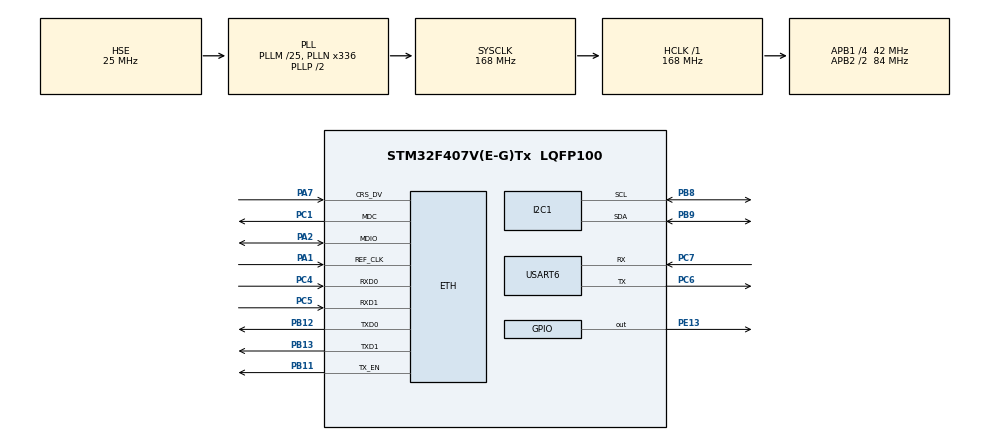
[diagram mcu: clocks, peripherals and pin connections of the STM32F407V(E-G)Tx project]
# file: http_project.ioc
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ADC1.Channel-0\#ChannelRegularConversion=ADC_CHANNEL_VREFINT
ADC1.Channel-1\#ChannelRegularConversion=ADC_CHANNEL_TEMPSENSOR
ADC1.NbrOfConversion=2
ADC1.NbrOfConversionFlag=1
ADC1.Rank-0\#ChannelRegularConversion=1
ADC1.Rank-1\#ChannelRegularConversion=2
ADC1.SamplingTime-0\#ChannelRegularConversion=ADC_SAMPLETIME_480CYCLES
ADC1.SamplingTime-1\#ChannelRegularConversion=ADC_SAMPLETIME_480CYCLES
ADC1.master=1
Dma.ADC1.0.Direction=DMA_PERIPH_TO_MEMORY
Dma.ADC1.0.FIFOMode=DMA_FIFOMODE_DISABLE
Dma.ADC1.0.Instance=DMA2_Stream0
Dma.ADC1.0.MemDataAlignment=DMA_MDATAALIGN_WORD
Dma.ADC1.0.MemInc=DMA_MINC_ENABLE
Dma.ADC1.0.Mode=DMA_NORMAL
Dma.ADC1.0.PeriphDataAlignment=DMA_PDATAALIGN_WORD
Dma.ADC1.0.PeriphInc=DMA_PINC_DISABLE
Dma.ADC1.0.Priority=DMA_PRIORITY_LOW
Dma.Request0=ADC1
ETH.MediaInterface=HAL_ETH_RMII_MODE
ETH.RxMode=ETH_RXINTERRUPT_MODE
IWDG.Prescaler=IWDG_PRESCALER_64
IWDG.Reload=624
Mcu.Family=STM32F4
Mcu.Name=STM32F407V(E-G)Tx
Mcu.Package=LQFP100
NVIC.ADC_IRQn=true\:0\:0\:false\:false\:true\:false\:true\:true\:true
NVIC.DMA2_Stream0_IRQn=true\:0\:0\:false\:false\:true\:true\:false\:true\:true
NVIC.ETH_IRQn=true\:0\:0\:false\:false\:true\:false\:true\:true\:true
NVIC.ETH_WKUP_IRQn=true\:0\:0\:false\:false\:true\:false\:true\:true\:true
NVIC.PriorityGroup=NVIC_PRIORITYGROUP_4
NVIC.TIM6_DAC_IRQn=true\:15\:0\:false\:false\:true\:false\:false\:true\:true
NVIC.TimeBase=TIM6_DAC_IRQn
NVIC.TimeBaseIP=TIM6
NVIC.USART6_IRQn=true\:0\:0\:false\:false\:true\:false\:true\:true\:true
PA1.Mode=RMII
PA1.Signal=ETH_REF_CLK
PA13.Mode=Serial_Wire
PA13.Signal=SYS_JTMS-SWDIO
PA14.Mode=Serial_Wire
PA14.Signal=SYS_JTCK-SWCLK
PA2.Mode=RMII
PA2.Signal=ETH_MDIO
PA7.Mode=RMII
PA7.Signal=ETH_CRS_DV
PB11.Mode=RMII
PB11.Signal=ETH_TX_EN
PB12.Mode=RMII
PB12.Signal=ETH_TXD0
PB13.Mode=RMII
PB13.Signal=ETH_TXD1
PB8.Mode=I2C
PB8.Signal=I2C1_SCL
PB9.Mode=I2C
PB9.Signal=I2C1_SDA
PC1.Mode=RMII
PC1.Signal=ETH_MDC
PC14-OSC32_IN.Mode=LSE-External-Oscillator
PC14-OSC32_IN.Signal=RCC_OSC32_IN
PC15-OSC32_OUT.Mode=LSE-External-Oscillator
PC15-OSC32_OUT.Signal=RCC_OSC32_OUT
PC4.Mode=RMII
PC4.Signal=ETH_RXD0
PC5.Mode=RMII
PC5.Signal=ETH_RXD1
PC6.Mode=Asynchronous
PC6.Signal=USART6_TX
PC7.Mode=Asynchronous
PC7.Signal=USART6_RX
PE13.Signal=GPIO_Output
PH0-OSC_IN.Mode=HSE-External-Oscillator
PH0-OSC_IN.Signal=RCC_OSC_IN
PH1-OSC_OUT.Mode=HSE-External-Oscillator
PH1-OSC_OUT.Signal=RCC_OSC_OUT
ProjectManager.HeapSize=0x200
ProjectManager.StackSize=0x400
ProjectManager.TargetToolchain=STM32CubeIDE
RCC.48MHZClocksFreq_Value=84000000
RCC.AHBFreq_Value=168000000
RCC.APB1CLKDivider=RCC_HCLK_DIV4
RCC.APB1Freq_Value=42000000
RCC.APB1TimFreq_Value=84000000
RCC.APB2CLKDivider=RCC_HCLK_DIV2
RCC.APB2Freq_Value=84000000
RCC.APB2TimFreq_Value=168000000
RCC.CortexFreq_Value=168000000
RCC.HCLKFreq_Value=168000000
RCC.HSE_VALUE=25000000
RCC.HSI_VALUE=16000000
RCC.PLLM=25
RCC.PLLN=336
RCC.PLLSourceVirtual=RCC_PLLSOURCE_HSE
RCC.SYSCLKFreq_VALUE=168000000
RCC.SYSCLKSource=RCC_SYSCLKSOURCE_PLLCLK
RCC.VCOOutputFreq_Value=336000000
STMicroelectronics.X-CUBE-AZRTOS-F4.1.1.0.InterfacesCcNetworkJjCustomOoInterface=true
STMicroelectronics.X-CUBE-AZRTOS-F4.1.1.0.InterfacesCcNetworkJjEthernetOoInterface=true
STMicroelectronics.X-CUBE-AZRTOS-F4.1.1.0.InterfacesCcNetworkJjEthernetOoPhyOoInterface=CustomIiPhyIiInterface
STMicroelectronics.X-CUBE-AZRTOS-F4.1.1.0.NetXDuoCcNetworkJjNetXDuoJjNXOoCore=true
STMicroelectronics.X-CUBE-AZRTOS-F4.1.1.0.ThreadXCcRTOSJjThreadXJjCore=true
STMicroelectronics.X-CUBE-AZRTOS-F4.1.1.0_IsAnAzureRtosMw=true
USART6.VirtualMode=VM_ASYNC
VP_ADC1_TempSens_Input.Mode=IN-TempSens
VP_ADC1_Vref_Input.Mode=IN-Vrefint
VP_IWDG_VS_IWDG.Mode=IWDG_Activate
VP_STMicroelectronics.X-CUBE-AZRTOS-F4_VS_NetworkJjInterfaces_2.1.0_1.1.0.Mode=NetworkJjInterfaces
VP_STMicroelectronics.X-CUBE-AZRTOS-F4_VS_NetworkJjNetXDuo_6.1.10_1.1.0.Mode=NetworkJjNetXDuo
VP_STMicroelectronics.X-CUBE-AZRTOS-F4_VS_RTOSJjThreadX_6.1.10_1.1.0.Mode=RTOSJjThreadX
VP_SYS_VS_tim6.Mode=TIM6
board=custom

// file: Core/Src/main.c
/* USER CODE BEGIN Header */
/**
 ******************************************************************************
 * @file           : main.c
 * @brief          : Main program body
 ******************************************************************************
 * @attention
 *
 * Copyright (c) 2025 STMicroelectronics.
 * All rights reserved.
 *
 * This software is licensed under terms that can be found in the LICENSE file
 * in the root directory of this software component.
 * If no LICENSE file comes with this software, it is provided AS-IS.
 *
 ******************************************************************************
 */
/* USER CODE END Header */
#include "main.h"

/* USER CODE BEGIN PD */
#define VREFINT_CAL 1.21f
#define ADC_RESOLUTION 4095.0f
#define AVG_SLOPE 0.0025f
#define V25 0.76f
/* USER CODE END PD */

ETH_TxPacketConfig TxConfig;
ETH_DMADescTypeDef DMARxDscrTab[ETH_RX_DESC_CNT]; /* Ethernet Rx DMA Descriptors */
ETH_DMADescTypeDef DMATxDscrTab[ETH_TX_DESC_CNT]; /* Ethernet Tx DMA Descriptors */

ADC_HandleTypeDef hadc1;
DMA_HandleTypeDef hdma_adc1;

ETH_HandleTypeDef heth;

I2C_HandleTypeDef hi2c1;

IWDG_HandleTypeDef hiwdg;

UART_HandleTypeDef huart6;

/* USER CODE BEGIN PV */
uint32_t adc_data[2];
volatile float mcu_temperature;
volatile float vdd_voltage;
uint8_t adc_flag = 0;
ULONG IP_ADDR;
ULONG IP_MASK;
/* USER CODE END PV */

void SystemClock_Config(void);
static void MX_GPIO_Init(void);
static void MX_DMA_Init(void);
static void MX_ETH_Init(void);
static void MX_USART6_UART_Init(void);
static void MX_ADC1_Init(void);
static void MX_I2C1_Init(void);
static void MX_IWDG_Init(void);

/* USER CODE BEGIN 0 */
void HAL_ADC_ConvCpltCallback(ADC_HandleTypeDef *hadc) {
	if (hadc->Instance == ADC1) {
		uint8_t tx_buffer[64];
		HAL_UART_Transmit(&huart6, tx_buffer,
				sprintf((char*) tx_buffer,
						"Beginning measurement voltage and temperature\n"),
				HAL_MAX_DELAY);
		uint32_t raw_vref = adc_data[0];
		uint32_t raw_temp = adc_data[1];
		// Вычисление VDD на основе VREFINT
		vdd_voltage = (VREFINT_CAL * ADC_RESOLUTION) / (float) raw_vref;
		// Напряжение на температурном датчике
		float v_sense = (raw_temp * vdd_voltage) / ADC_RESOLUTION;
		// Перевод в температуру (по формуле из даташита)
		mcu_temperature = ((v_sense - V25) / AVG_SLOPE) + 25.0f;
		uint8_t tx_buff[64];
		HAL_UART_Transmit(&huart6, (const uint8_t*) tx_buff,
				sprintf((char*) tx_buff,
						"VDD voltage and temperature measured\n"),
				HAL_MAX_DELAY);
		adc_flag = 1;
	}
}
/* USER CODE END 0 */

int main(void) {

	/* MCU Configuration--------------------------------------------------------*/

	/* Reset of all peripherals, Initializes the Flash interface and the Systick. */
	HAL_Init();

	/* Configure the system clock */
	SystemClock_Config();

	/* Initialize all configured peripherals */
	MX_GPIO_Init();
	MX_DMA_Init();
	MX_ETH_Init();
	MX_USART6_UART_Init();
	MX_ADC1_Init();
	MX_I2C1_Init();
	MX_IWDG_Init();
	/* USER CODE BEGIN 2 */
	uint8_t tx_buffer[64];
	HAL_UART_Transmit(&huart6, tx_buffer,
			sprintf((char*) tx_buffer, "Getting started\n"), HAL_MAX_DELAY);
	ip_and_mask();
	HAL_ADC_Start_DMA(&hadc1, adc_data, 2);
	/* USER CODE END 2 */

	MX_ThreadX_Init();

	/* We should never get here as control is now taken by the scheduler */

	/* Infinite loop */
	while (1) {

	}
}

void SystemClock_Config(void) {
	RCC_OscInitTypeDef RCC_OscInitStruct = { 0 };
	RCC_ClkInitTypeDef RCC_ClkInitStruct = { 0 };

	/** Configure the main internal regulator output voltage
	 */
	__HAL_RCC_PWR_CLK_ENABLE();
	__HAL_PWR_VOLTAGESCALING_CONFIG(PWR_REGULATOR_VOLTAGE_SCALE1);

	/** Initializes the RCC Oscillators according to the specified parameters
	 * in the RCC_OscInitTypeDef structure.
	 */
	RCC_OscInitStruct.OscillatorType = RCC_OSCILLATORTYPE_LSI
			| RCC_OSCILLATORTYPE_HSE;
	RCC_OscInitStruct.HSEState = RCC_HSE_ON;
	RCC_OscInitStruct.LSIState = RCC_LSI_ON;
	RCC_OscInitStruct.PLL.PLLState = RCC_PLL_ON;
	RCC_OscInitStruct.PLL.PLLSource = RCC_PLLSOURCE_HSE;
	RCC_OscInitStruct.PLL.PLLM = 25;
	RCC_OscInitStruct.PLL.PLLN = 336;
	RCC_OscInitStruct.PLL.PLLP = RCC_PLLP_DIV2;
	RCC_OscInitStruct.PLL.PLLQ = 4;
	if (HAL_RCC_OscConfig(&RCC_OscInitStruct) != HAL_OK) {
		Error_Handler();
	}

	/** Initializes the CPU, AHB and APB buses clocks
	 */
	RCC_ClkInitStruct.ClockType = RCC_CLOCKTYPE_HCLK | RCC_CLOCKTYPE_SYSCLK
			| RCC_CLOCKTYPE_PCLK1 | RCC_CLOCKTYPE_PCLK2;
	RCC_ClkInitStruct.SYSCLKSource = RCC_SYSCLKSOURCE_PLLCLK;
	RCC_ClkInitStruct.AHBCLKDivider = RCC_SYSCLK_DIV1;
	RCC_ClkInitStruct.APB1CLKDivider = RCC_HCLK_DIV4;
	RCC_ClkInitStruct.APB2CLKDivider = RCC_HCLK_DIV2;

	if (HAL_RCC_ClockConfig(&RCC_ClkInitStruct, FLASH_LATENCY_5) != HAL_OK) {
		Error_Handler();
	}
}

static void MX_ADC1_Init(void) {

	ADC_ChannelConfTypeDef sConfig = { 0 };

	/** Configure the global features of the ADC (Clock, Resolution, Data Alignment and number of conversion)
	 */
	hadc1.Instance = ADC1;
	hadc1.Init.ClockPrescaler = ADC_CLOCK_SYNC_PCLK_DIV4;
	hadc1.Init.Resolution = ADC_RESOLUTION_12B;
	hadc1.Init.ScanConvMode = ENABLE;
	hadc1.Init.ContinuousConvMode = DISABLE;
	hadc1.Init.DiscontinuousConvMode = DISABLE;
	hadc1.Init.ExternalTrigConvEdge = ADC_EXTERNALTRIGCONVEDGE_NONE;
	hadc1.Init.ExternalTrigConv = ADC_SOFTWARE_START;
	hadc1.Init.DataAlign = ADC_DATAALIGN_RIGHT;
	hadc1.Init.NbrOfConversion = 2;
	hadc1.Init.DMAContinuousRequests = DISABLE;
	hadc1.Init.EOCSelection = ADC_EOC_SINGLE_CONV;
	if (HAL_ADC_Init(&hadc1) != HAL_OK) {
		Error_Handler();
	}

	/** Configure for the selected ADC regular channel its corresponding rank in the sequencer and its sample time.
	 */
	sConfig.Channel = ADC_CHANNEL_VREFINT;
	sConfig.Rank = 1;
	sConfig.SamplingTime = ADC_SAMPLETIME_480CYCLES;
	if (HAL_ADC_ConfigChannel(&hadc1, &sConfig) != HAL_OK) {
		Error_Handler();
	}

	/** Configure for the selected ADC regular channel its corresponding rank in the sequencer and its sample time.
	 */
	sConfig.Channel = ADC_CHANNEL_TEMPSENSOR;
	sConfig.Rank = 2;
	if (HAL_ADC_ConfigChannel(&hadc1, &sConfig) != HAL_OK) {
		Error_Handler();
	}

}

static void MX_ETH_Init(void) {

	static uint8_t MACAddr[6];

	heth.Instance = ETH;
	MACAddr[0] = 0x00;
	MACAddr[1] = 0x80;
	MACAddr[2] = 0xE1;
	MACAddr[3] = 0x00;
	MACAddr[4] = 0x00;
	MACAddr[5] = 0x00;
	heth.Init.MACAddr = &MACAddr[0];
	heth.Init.MediaInterface = HAL_ETH_RMII_MODE;
	heth.Init.TxDesc = DMATxDscrTab;
	heth.Init.RxDesc = DMARxDscrTab;
	heth.Init.RxBuffLen = 1536;

	if (HAL_ETH_Init(&heth) != HAL_OK) {
		Error_Handler();
	}

	memset(&TxConfig, 0, sizeof(ETH_TxPacketConfig));
	TxConfig.Attributes = ETH_TX_PACKETS_FEATURES_CSUM
			| ETH_TX_PACKETS_FEATURES_CRCPAD;
	TxConfig.ChecksumCtrl = ETH_CHECKSUM_IPHDR_PAYLOAD_INSERT_PHDR_CALC;
	TxConfig.CRCPadCtrl = ETH_CRC_PAD_INSERT;

}

static void MX_I2C1_Init(void) {

	hi2c1.Instance = I2C1;
	hi2c1.Init.ClockSpeed = 100000;
	hi2c1.Init.DutyCycle = I2C_DUTYCYCLE_2;
	hi2c1.Init.OwnAddress1 = 0;
	hi2c1.Init.AddressingMode = I2C_ADDRESSINGMODE_7BIT;
	hi2c1.Init.DualAddressMode = I2C_DUALADDRESS_DISABLE;
	hi2c1.Init.OwnAddress2 = 0;
	hi2c1.Init.GeneralCallMode = I2C_GENERALCALL_DISABLE;
	hi2c1.Init.NoStretchMode = I2C_NOSTRETCH_DISABLE;
	if (HAL_I2C_Init(&hi2c1) != HAL_OK) {
		Error_Handler();
	}

}

static void MX_IWDG_Init(void) {

	hiwdg.Instance = IWDG;
	hiwdg.Init.Prescaler = IWDG_PRESCALER_64;
	hiwdg.Init.Reload = 624;
	if (HAL_IWDG_Init(&hiwdg) != HAL_OK) {
		Error_Handler();
	}

}

static void MX_USART6_UART_Init(void) {

	huart6.Instance = USART6;
	huart6.Init.BaudRate = 115200;
	huart6.Init.WordLength = UART_WORDLENGTH_8B;
	huart6.Init.StopBits = UART_STOPBITS_1;
	huart6.Init.Parity = UART_PARITY_NONE;
	huart6.Init.Mode = UART_MODE_TX_RX;
	huart6.Init.HwFlowCtl = UART_HWCONTROL_NONE;
	huart6.Init.OverSampling = UART_OVERSAMPLING_16;
	if (HAL_UART_Init(&huart6) != HAL_OK) {
		Error_Handler();
	}

}

static void MX_DMA_Init(void) {

	/* DMA controller clock enable */
	__HAL_RCC_DMA2_CLK_ENABLE();

	/* DMA interrupt init */
	/* DMA2_Stream0_IRQn interrupt configuration */
	HAL_NVIC_SetPriority(DMA2_Stream0_IRQn, 0, 0);
	HAL_NVIC_EnableIRQ(DMA2_Stream0_IRQn);

}

static void MX_GPIO_Init(void) {
	GPIO_InitTypeDef GPIO_InitStruct = { 0 };

	/* GPIO Ports Clock Enable */
	__HAL_RCC_GPIOC_CLK_ENABLE();
	__HAL_RCC_GPIOH_CLK_ENABLE();
	__HAL_RCC_GPIOA_CLK_ENABLE();
	__HAL_RCC_GPIOE_CLK_ENABLE();
	__HAL_RCC_GPIOB_CLK_ENABLE();

	/*Configure GPIO pin Output Level */
	HAL_GPIO_WritePin(GPIOE, GPIO_PIN_13, GPIO_PIN_RESET);

	/*Configure GPIO pin : PE13 */
	GPIO_InitStruct.Pin = GPIO_PIN_13;
	GPIO_InitStruct.Mode = GPIO_MODE_OUTPUT_PP;
	GPIO_InitStruct.Pull = GPIO_NOPULL;
	GPIO_InitStruct.Speed = GPIO_SPEED_FREQ_LOW;
	HAL_GPIO_Init(GPIOE, &GPIO_InitStruct);

}

void HAL_TIM_PeriodElapsedCallback(TIM_HandleTypeDef *htim) {
	if (htim->Instance == TIM6) {
		HAL_IncTick();
	}
}

void Error_Handler(void) {
	__disable_irq();
	while (1) {
	}
}
